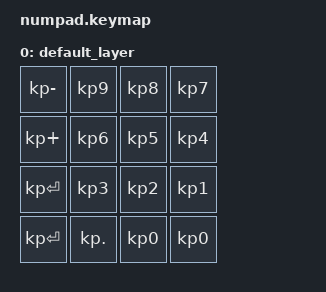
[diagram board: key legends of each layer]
#include <behaviors.dtsi>
#include <dt-bindings/zmk/keys.h>

/ {
    keymap {
        compatible = "zmk,keymap";

        default_layer { // Layer 0
            // -------------------------------------
            // |     Z     |     M     |     K     |
            // |     A     |     B     |     C     |
            // |     D     |     E     |     F     |
            bindings = <
                &kp KP_MINUS &kp KP_NUMBER_9 &kp KP_NUMBER_8 &kp KP_NUMBER_7
                &kp KP_PLUS  &kp KP_NUMBER_6 &kp KP_NUMBER_5 &kp KP_NUMBER_4
                &kp KP_ENTER &kp KP_NUMBER_3 &kp KP_NUMBER_2 &kp KP_NUMBER_1
                &kp KP_ENTER &kp KP_DOT      &kp KP_NUMBER_0 &kp KP_NUMBER_0
            >;
        };
    };
 };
